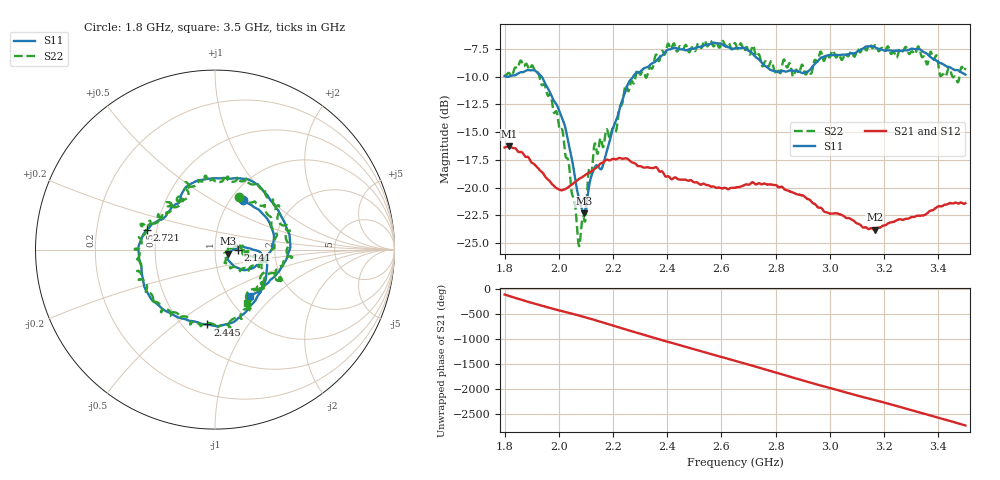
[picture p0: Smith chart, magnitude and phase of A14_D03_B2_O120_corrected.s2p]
! Created with skrf 1.9.0 (http://scikit-rf.org).
# Hz S RI R 50.0
!freq ReS11 ImS11 ReS21 ImS21 ReS12 ImS12 ReS22 ImS22
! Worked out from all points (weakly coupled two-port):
!   1601 points, 1.8 GHz to 3.5 GHz, reference 50 ohm
!   highest |S21| = -16.28 dB at 1.817 GHz (marker M1); lowest = -23.8 dB at 3.165 GHz (marker M2)
!   lowest |S11| = -22.3 dB at 2.092 GHz (marker M3), VSWR 1.17, Z = 57.8 - j2.71 ohm
!   |S11| at or under -10 dB: 1.806228 GHz to 1.815272 GHz (9.044 MHz wide, 0.499 % of centre); 1.937 GHz to 2.274 GHz (337.8 MHz wide, 16 % of centre)
!   |S22| runs from -25.3 to -6.7 dB; largest |S21 - S12| = 0.0027
!   S11 on the Smith chart (normalised r, x): 1.8 GHz: 1.13, +0.70; 2.141 GHz: 1.29, -0.00; 2.445 GHz: 0.65, -0.66; 2.721 GHz: 0.44, +0.11; 3.5 GHz: 1.26, -0.72
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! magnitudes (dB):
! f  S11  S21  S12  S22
! 1.8 GHz  -9.9  -16.4  -16.4  -9.8
! 1.817 GHz  -10.0  -16.3  -16.3  -9.7
! 1.903 GHz  -9.4  -17.8  -17.8  -9.0
! 1.968 GHz  -11.4  -19.5  -19.5  -11.6
! 2.015 GHz  -13.9  -20.2  -20.2  -15.0
! 2.072 GHz  -20.7  -19.3  -19.3  -25.0
! 2.084 GHz  -21.8  -19.1  -19.0  -23.4
! 2.092 GHz  -22.3  -19.0  -19.0  -22.7
! 2.112 GHz  -19.7  -18.6  -18.6  -18.3
! 2.141 GHz  -18.0  -18.1  -18.1  -16.9
! 2.209 GHz  -14.1  -17.4  -17.4  -15.0
! 2.259 GHz  -10.5  -17.5  -17.5  -11.2
! 2.367 GHz  -8.3  -18.4  -18.4  -8.5
! 2.445 GHz  -7.5  -19.3  -19.3  -7.3
! 2.65 GHz  -7.5  -20.0  -20.0  -7.0
! 2.721 GHz  -8.1  -19.6  -19.5  -7.5
! 2.802 GHz  -9.5  -19.8  -19.8  -9.5
! 2.934 GHz  -9.2  -21.3  -21.3  -9.6
! 3.165 GHz  -7.3  -23.8  -23.8  -7.2
! 3.217 GHz  -7.6  -23.2  -23.2  -7.4
! 3.468 GHz  -9.4  -21.4  -21.4  -10.3
! 3.5 GHz  -9.8  -21.4  -21.4  -9.2
